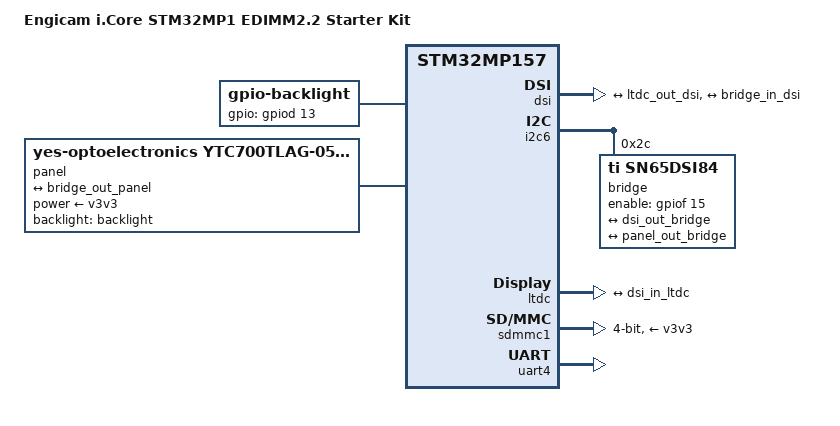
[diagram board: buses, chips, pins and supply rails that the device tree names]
// SPDX-License-Identifier: (GPL-2.0+ OR BSD-3-Clause)
/*
 * Copyright (c) STMicroelectronics 2019 - All Rights Reserved
 * Copyright (c) 2020 Engicam srl
 * Copyright (c) 2020 Amarula Solutions(India)
 */

/dts-v1/;
#include "stm32mp157.dtsi"
#include "stm32mp157a-icore-stm32mp1.dtsi"
#include "stm32mp15-pinctrl.dtsi"
#include "stm32mp15xxaa-pinctrl.dtsi"
#include <dt-bindings/gpio/gpio.h>

/ {
	model = "Engicam i.Core STM32MP1 EDIMM2.2 Starter Kit";
	compatible = "engicam,icore-stm32mp1-edimm2.2",
		     "engicam,icore-stm32mp1", "st,stm32mp157";

	aliases {
		serial0 = &uart4;
	};

	chosen {
		stdout-path = "serial0:115200n8";
	};

	backlight: backlight {
		compatible = "gpio-backlight";
		gpios = <&gpiod 13 GPIO_ACTIVE_HIGH>;
		default-on;
	};

	panel {
		compatible = "yes-optoelectronics,ytc700tlag-05-201c";
		backlight = <&backlight>;
		power-supply = <&v3v3>;

		port {
			panel_out_bridge: endpoint {
				remote-endpoint = <&bridge_out_panel>;
			};
		};
	};
};

&dsi {
	status = "okay";
	phy-dsi-supply = <&reg18>;

	ports {
		port@0 {
			reg = <0>;
			dsi_in_ltdc: endpoint {
				remote-endpoint = <&ltdc_out_dsi>;
			};
		};

		port@1 {
			reg = <1>;
			dsi_out_bridge: endpoint {
				remote-endpoint = <&bridge_in_dsi>;
			};
		};
	};
};

&i2c6 {
	i2c-scl-falling-time-ns = <20>;
	i2c-scl-rising-time-ns = <185>;
	pinctrl-names = "default", "sleep";
	pinctrl-0 = <&i2c6_pins_a>;
	pinctrl-1 = <&i2c6_sleep_pins_a>;
	status = "okay";

	bridge@2c {
		compatible = "ti,sn65dsi84";
		reg = <0x2c>;
		enable-gpios = <&gpiof 15 GPIO_ACTIVE_HIGH>;

		ports {
			#address-cells = <1>;
			#size-cells = <0>;

			port@0 {
				reg = <0>;
				bridge_in_dsi: endpoint {
					remote-endpoint = <&dsi_out_bridge>;
					data-lanes = <1 2>;
				};
			};

			port@2 {
				reg = <2>;
				bridge_out_panel: endpoint {
					remote-endpoint = <&panel_out_bridge>;
				};
			};
		};
	};
};

&ltdc {
	status = "okay";

	port {
		ltdc_out_dsi: endpoint@0 {
			reg = <0>;
			remote-endpoint = <&dsi_in_ltdc>;
		};
	};
};

&sdmmc1 {
	bus-width = <4>;
	disable-wp;
	pinctrl-names = "default", "opendrain", "sleep";
	pinctrl-0 = <&sdmmc1_b4_pins_a>;
	pinctrl-1 = <&sdmmc1_b4_od_pins_a>;
	pinctrl-2 = <&sdmmc1_b4_sleep_pins_a>;
	st,neg-edge;
	vmmc-supply = <&v3v3>;
	status = "okay";
};

&uart4 {
	pinctrl-names = "default", "sleep", "idle";
	pinctrl-0 = <&uart4_pins_a>;
	pinctrl-1 = <&uart4_sleep_pins_a>;
	pinctrl-2 = <&uart4_idle_pins_a>;
	/delete-property/dmas;
	/delete-property/dma-names;
	status = "okay";
};
